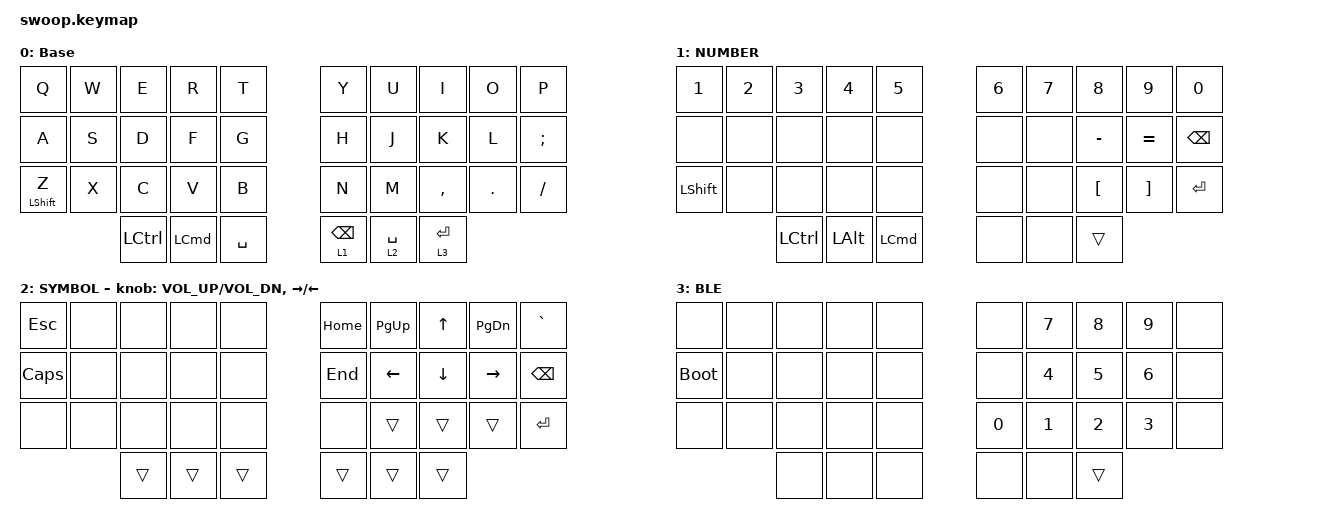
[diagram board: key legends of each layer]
/*
 * Copyright (c) 2020 duckyb
 *
 * SPDX-License-Identifier: MIT
 */

#include <behaviors.dtsi>
#include <dt-bindings/zmk/keys.h>

/ {
    behaviors {
        tab_esc_ctrl: tab_esc_ctrl {
            compatible = "zmk,behavior-tap-dance";
            label = "TAB_ESC_CTRL";
            #binding-cells = <0>;
            bindings = <&mt LCTRL ESC>, <&kp TAB>;
        };

        gqt: global-quick-tap {
            compatible = "zmk,behavior-hold-tap";
            label = "GLOBAL_QUICK_TAP";
            bindings = <&kp>, <&kp>;

            #binding-cells = <2>;
            quick-tap-ms = <180>;
            tapping-term-ms = <200>;
            global-quick-tap;
            flavor = "tap-preferred";
        };

        ltq: ltq {
            compatible = "zmk,behavior-hold-tap";
            label = "LTQ";
            bindings = <&mo>, <&kp>;

            #binding-cells = <2>;
            global-quick-tap;
            tapping-term-ms = <200>;
            quick-tap-ms = <180>;
        };
    };

    combos {
        compatible = "zmk,combos";

        left_bkt {
            bindings = <&kp LBKT>;
            key-positions = <3 2>;
            timeout-ms = <50>;
        };

        right_bkt {
            bindings = <&kp RBKT>;
            key-positions = <6 7>;
            timeout-ms = <50>;
        };

        left_par {
            bindings = <&kp LEFT_PARENTHESIS>;
            key-positions = <12 13>;
            timeout-ms = <50>;
        };

        right_par {
            bindings = <&kp RIGHT_PARENTHESIS>;
            key-positions = <16 17>;
            timeout-ms = <50>;
        };

        left_brace {
            bindings = <&kp LEFT_BRACE>;
            key-positions = <23 22>;
            timeout-ms = <50>;
        };

        right_brace {
            bindings = <&kp RIGHT_BRACE>;
            key-positions = <26 27>;
            timeout-ms = <50>;
        };

        bac {
            bindings = <&kp BACKSLASH>;
            key-positions = <4 5>;
        };

        pipe {
            bindings = <&kp PIPE>;
            key-positions = <14 15>;
        };
    };

    macros {
    };

    keymap {
        compatible = "zmk,keymap";

        base {
            label = "Base";
            bindings = <
&kp Q             &kp W  &kp E      &kp R             &kp T        &kp Y            &kp U        &kp I        &kp O    &kp P
&kp A             &kp S  &kp D      &kp F             &kp G        &kp H            &kp J        &kp K        &kp L    &kp SEMICOLON
&mt LEFT_SHIFT Z  &kp X  &kp C      &kp V             &kp B        &kp N            &kp M        &kp COMMA    &kp DOT  &kp FSLH
                         &kp LCTRL  &kp LEFT_COMMAND  &kp SPACE    &lt 1 BACKSPACE  &lt 2 SPACE  &lt 3 ENTER
            >;
        };

        number {
            label = "NUMBER";
            bindings = <
&kp NUMBER_1    &kp N2  &kp N3     &kp N4        &kp N5              &kp N6  &kp N7  &kp N8            &kp N9             &kp NUMBER_0
&none           &none   &none      &none         &none               &none   &none   &kp MINUS         &kp EQUAL          &kp BACKSPACE
&kp LEFT_SHIFT  &none   &none      &none         &none               &none   &none   &kp LEFT_BRACKET  &kp RIGHT_BRACKET  &kp ENTER
                        &kp LCTRL  &kp LEFT_ALT  &kp LEFT_COMMAND    &none   &none   &trans
            >;
        };

        symbol {
            label = "SYMBOL";
            bindings = <
&kp ESC       &none  &none   &none   &none     &kp HOME  &kp PAGE_UP     &kp UP    &kp PAGE_DOWN  &kp GRAVE
&kp CAPSLOCK  &none  &none   &none   &none     &kp END   &kp LEFT_ARROW  &kp DOWN  &kp RIGHT      &kp BACKSPACE
&none         &none  &none   &none   &none     &none     &trans          &trans    &trans         &kp ENTER
                     &trans  &trans  &trans    &trans    &trans          &trans
            >;

            sensor-bindings = <&inc_dec_kp C_VOL_UP C_VOL_DN &inc_dec_kp RIGHT LEFT>;
        };

        ble {
            label = "BLE";
            bindings = <
&none        &none  &none  &none  &none    &none         &kp NUMBER_7  &kp NUMBER_8  &kp NUMBER_9  &none
&bootloader  &none  &none  &none  &none    &none         &kp NUMBER_4  &kp NUMBER_5  &kp NUMBER_6  &none
&none        &none  &none  &none  &none    &kp NUMBER_0  &kp NUMBER_1  &kp NUMBER_2  &kp NUMBER_3  &none
                    &none  &none  &none    &none         &none         &trans
            >;
        };
    };
};
